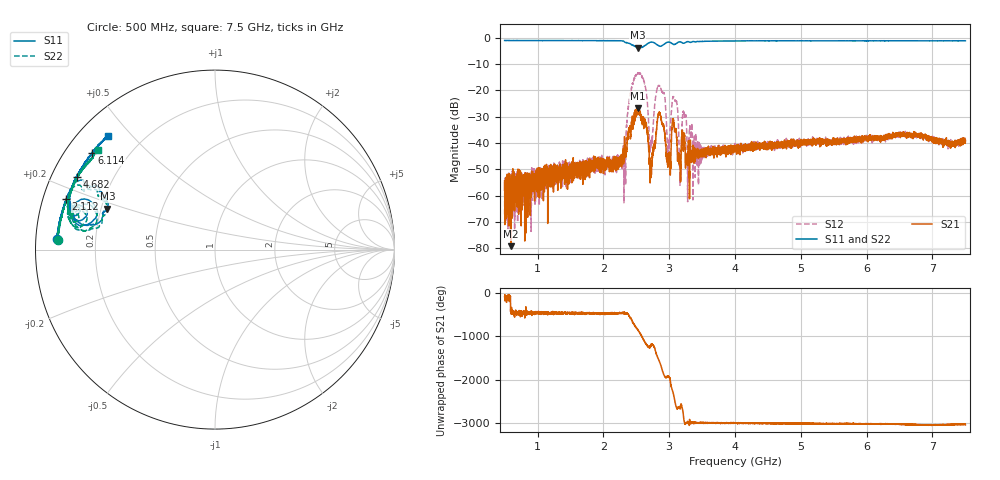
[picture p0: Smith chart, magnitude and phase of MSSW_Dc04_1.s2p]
!Keysight Technologies,M9374A,MY55442783,A.12.55.05
!Date: Wednesday, May 19, 2021 16:43:25
!Correction: S11(Full 2 Port(1,2))
!S21(Full 2 Port(1,2))
!S12(Full 2 Port(1,2))
!S22(Full 2 Port(1,2))
!S2P File: Measurements: S11, S21, S12, S22:
# Hz S  RI  R 50
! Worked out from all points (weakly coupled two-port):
!   7001 points, 500 MHz to 7.5 GHz, reference 50 ohm
!   highest |S21| = -26.84 dB at 2.524 GHz (marker M1); lowest = -79.2 dB at 598 MHz (marker M2)
!   lowest |S11| = -3.9 dB at 2.524 GHz (marker M3), VSWR 4.57, Z = 11.3 + j8.75 ohm
!   |S11| at or under -10 dB: nowhere
!   |S22| runs from -3.9 to -1.1 dB; largest |S21 - S12| = 0.18
!   S11 on the Smith chart (normalised r, x): 500 MHz: 0.06, +0.03; 2.112 GHz: 0.07, +0.16; 4.682 GHz: 0.07, +0.25; 6.114 GHz: 0.08, +0.35; 7.5 GHz: 0.08, +0.43
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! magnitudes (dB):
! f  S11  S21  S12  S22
! 500 MHz  -1.1  -58.0  -67.2  -1.1
! 598 MHz  -1.1  -79.2  -69.7  -1.1
! 1.667 GHz  -1.1  -51.0  -47.9  -1.2
! 2.112 GHz  -1.2  -48.9  -48.7  -1.2
! 2.306 GHz  -1.3  -44.5  -42.6  -1.3
! 2.407 GHz  -2.3  -35.1  -21.9  -2.3
! 2.524 GHz  -3.9  -26.8  -13.4  -3.9
! 2.631 GHz  -3.0  -31.1  -17.6  -3.1
! 2.722 GHz  -1.7  -49.9  -39.7  -1.7
! 2.834 GHz  -3.0  -29.2  -18.3  -3.1
! 2.917 GHz  -2.6  -33.8  -21.0  -2.7
! 2.99 GHz  -1.7  -46.1  -41.1  -1.7
! 3.08 GHz  -2.6  -34.2  -23.3  -2.6
! 3.167 GHz  -1.6  -49.1  -52.2  -1.6
! 3.23 GHz  -2.1  -36.3  -29.7  -2.1
! 3.391 GHz  -1.6  -47.2  -42.6  -1.7
! 4 GHz  -1.2  -43.3  -41.3  -1.3
! 4.682 GHz  -1.2  -40.4  -40.5  -1.2
! 5.167 GHz  -1.2  -39.6  -40.0  -1.2
! 6.114 GHz  -1.2  -38.5  -37.2  -1.3
! 6.334 GHz  -1.2  -37.1  -37.8  -1.3
! 7.5 GHz  -1.2  -39.0  -38.9  -1.3
